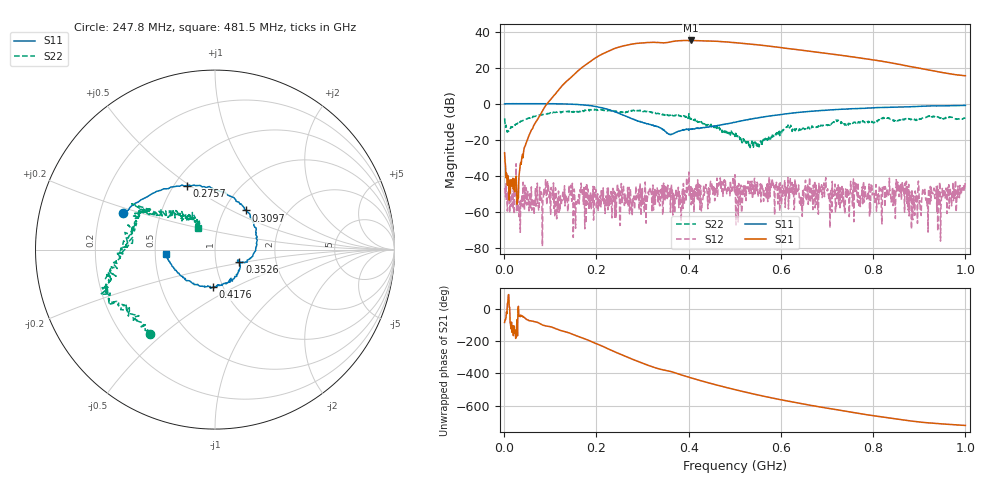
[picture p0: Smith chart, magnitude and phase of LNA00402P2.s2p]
! Created with skrf 1.9.0 (http://scikit-rf.org).
# Hz S RI R 50.0
!freq ReS11 ImS11 ReS21 ImS21 ReS12 ImS12 ReS22 ImS22
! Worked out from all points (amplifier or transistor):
!   1001 points, 1 MHz to 1 GHz, reference 50 ohm
!   highest |S21| = 35.1 dB at 404.6 MHz (marker M1)
!   |S21| within 3 dB of that: 259.1 MHz to 569.3 MHz (310.2 MHz wide, 74.9 % of centre)
!   unconditionally stable (mu >= 1): 254.8 MHz to 305.6 MHz; 305.8 MHz to 400.2 MHz; 400.9 MHz to end of sweep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
!   at 166.8 MHz: K = 0.06, MSG = 31.8 dB, |S12| = -44.0 dB
!   at 500.5 MHz: K = 1.11, MAG = 34.6 dB, |S12| = -39.4 dB
!   at 1 GHz: K = 1.90, MAG = 23.5 dB, |S12| = -42.4 dB
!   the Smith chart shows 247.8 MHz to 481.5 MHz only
!   S11 on the Smith chart (normalised r, x): 247.8 MHz: 0.30, +0.17; 275.7 MHz: 0.58, +0.49; 309.7 MHz: 1.26, +0.60; 352.6 MHz: 1.30, -0.19; 417.6 MHz: 0.90, -0.39; 481.5 MHz: 0.57, -0.03
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1000000  0.987 0.00342  0.00512 -0.0435  -0.00395 -0.00247  0.3078 0.2489
1.08892e8  0.5242 -0.8474  -0.837 -1.526  -0.00288 -0.000901  0.4188 -0.3946
1.67833e8  -0.2247 -0.9048  -9.882 -0.4833  0.00112 -0.00395  0.00469 -0.6476
2.11789e8  -0.6811 -0.3597  -15.19 17.98  0.00189 -0.00177  -0.2233 -0.6254
2.29771e8  -0.6632 -0.0544  -8.919 28.74  0.00134 0.00094  -0.2873 -0.5824
2.47753e8  -0.5136 0.2024  3.515 36.71  -0.0034 0.00272  -0.3611 -0.4721
2.75725e8  -0.1564 0.3565  28.58 34.23  0.00108 0.00033  -0.5795 -0.2943
3.09691e8  0.1728 0.218  48.44 11.06  -0.00182 -5.82e-05  -0.6036 -0.1392
3.34666e8  0.2267 0.00145  48.72 -9.708  -0.00202 0.00103  -0.5345 -0.0193
3.52648e8  0.1356 -0.07  45.5 -19.28  0.00144 -0.00275  -0.5021 0.0954
3.73627e8  0.1385 -0.0869  42.6 -34.82  -0.000584 0.00225  -0.4271 0.1816
4.04596e8  0.0638 -0.1901  21.72 -52.33  -0.00355 0.00432  -0.3315 0.2078
4.17583e8  -0.0105 -0.2074  11.31 -54.97  0.000725 0.0038  -0.2557 0.2056
4.46554e8  -0.1594 -0.173  -10.54 -53.71  0.00127 0.00523  -0.1851 0.1599
4.81519e8  -0.2742 -0.0246  -31.39 -40.88  0.0049 4.85e-05  -0.0973 0.1217
5.005e8  -0.2956 0.0847  -38.44 -31.23  0.00982 -0.00442  -0.0887 0.0865
5.4046e8  -0.249 0.2937  -42.88 -9.564  0.00395 -0.00396  -0.0621 0.00515
5.88412e8  -0.0667 0.4765  -35.91 11.13  0.00392 -0.00391  -0.1152 -0.0844
6.67333e8  0.3058 0.5381  -14.04 24.03  -0.00198 -0.00139  -0.2403 -0.0414
7.53247e8  0.618 0.3778  3.861 19.61  -0.00272 -0.00243  -0.2683 0.00211
8.34166e8  0.7806 0.1507  10.12 9.523  -0.00141 -0.00227  -0.3861 0.041
1e9  0.8137 -0.3823  5.968 -0.3426  -0.0065 -0.00386  -0.2413 0.3216
